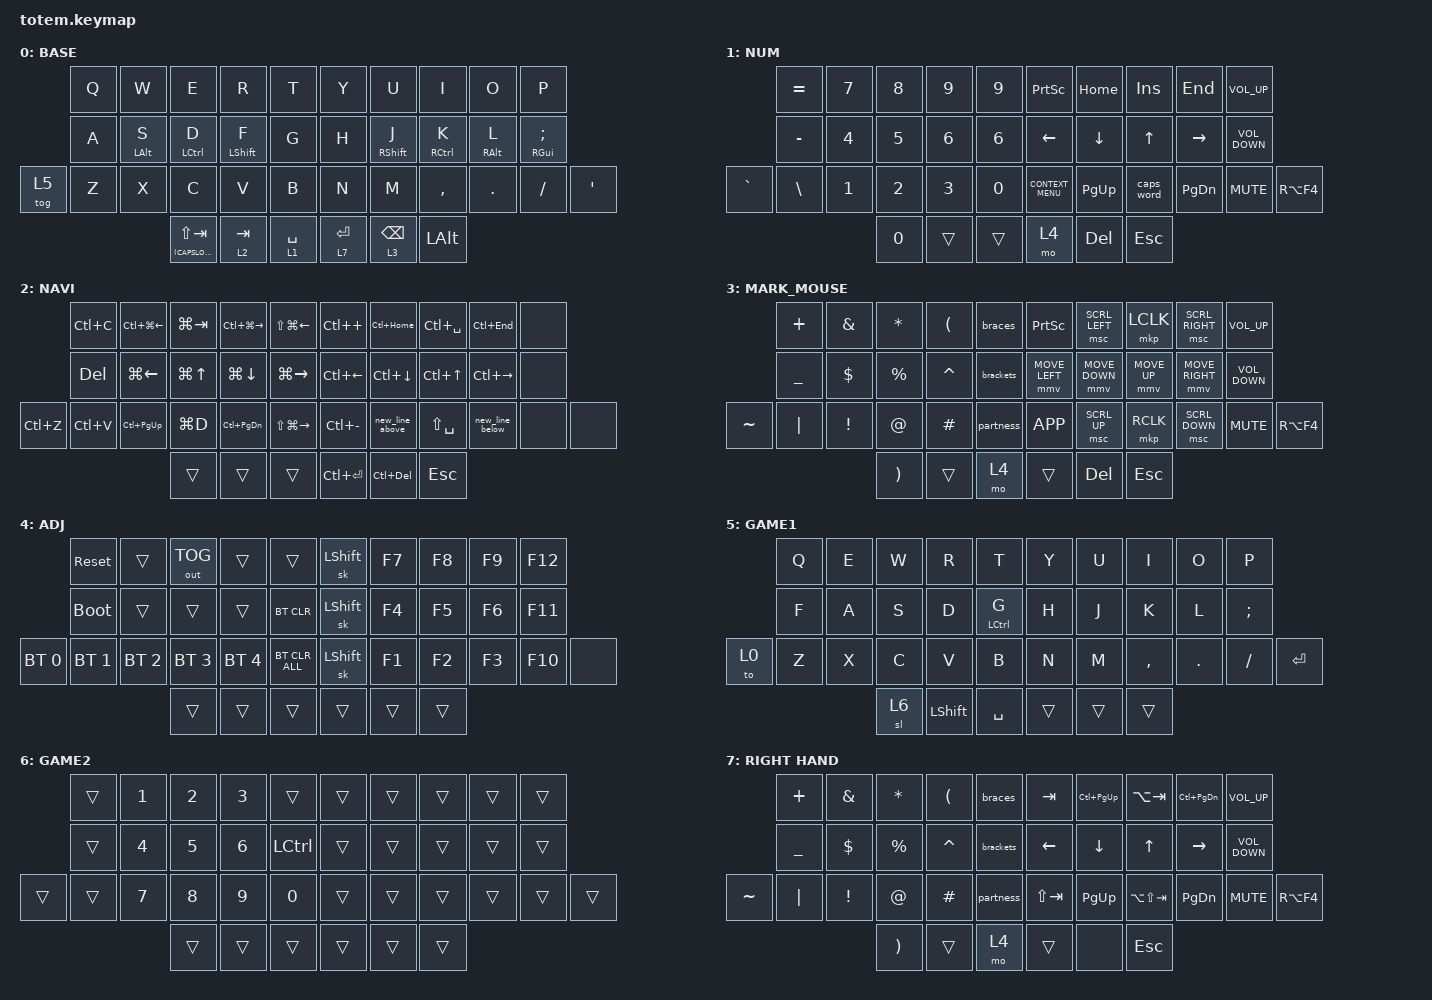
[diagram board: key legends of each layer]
//
//                                                        ▀▀▀▀▀     ▀▀▀▀▀          ▀▀█▀▀
//                                                        ▄▀▀▀▄  ▄  ▄▀▀▀▄  ▄  ▄▀▀▀▄  █  ▄▀▀▀▄
//                                                        █   █  █  █   █  █  █   █  █  █   █
//                                                         ▀▀▀   █   ▀▀▀   █   ▀▀▀   ▀   ▀▀▀
//                                                               █      ▄▄▄█▄▄▄    █   █  
//                                                               ▀      █  █  █     █▄█
//                                                             ▀▀▀▀▀    █  █  █      ▀
//                                                                      ▀  ▀  ▀
//
// ▄▄▄▄▄▄▄▄▄▄▄▄▄▄▄▄▄▄▄▄▄▄▄▄▄▄▄▄▄▄▄▄▄▄▄▄▄▄▄▄▄▄▄▄▄▄▄▄▄▄▄▄▄▄▄▄▄▄▄▄▄▄▄▄▄▄▄▄▄▄▄▄▄▄▄▄▄▄▄▄▄▄▄▄▄▄▄▄▄▄▄▄▄▄▄▄▄▄▄▄▄▄▄▄▄▄▄▄▄▄▄▄▄▄▄▄▄▄▄▄▄▄▄▄▄▄▄▄▄▄▄▄▄▄▄▄▄▄▄▄▄▄▄▄▄▄▄▄▄

#include <behaviors.dtsi>
#include <dt-bindings/zmk/bt.h>
#include <dt-bindings/zmk/keys.h>
#include <dt-bindings/zmk/outputs.h>
#include <dt-bindings/zmk/pointing.h>

#define BASE 0
#define NAV  1
#define SYM  2
#define ADJ  3

&mt {
    quick-tap-ms = <100>;
    global-quick-tap;
    flavor = "tap-preferred";
    tapping-term-ms = <150>;
};

/ {
    combos {
        compatible = "zmk,combos";

        combo_esc {
            timeout-ms = <50>;
            key-positions = <0 1>;
            bindings = <&kp ESC>;
        };

        skk {
            bindings = <&kp LC(J)>;
            key-positions = <16 17>;
        };
    };

    macros {
        gif: gif {
            label = "giphy";
            compatible = "zmk,behavior-macro";
            #binding-cells = <0>;
            bindings =
                <&macro_press>,
                <&kp LSHFT>,
                <&macro_tap>,
                <&kp N2>,
                <&macro_release>,
                <&kp LSHFT>,
                <&macro_tap>,
                <&kp G &kp I &kp F>;
        };

        new_line_below: new_line_below {
            compatible = "zmk,behavior-macro";
            #binding-cells = <0>;
            bindings = <&kp END &kp ENTER>;
            label = "NEW_LINE_BELOW";
        };

        new_line_above: new_line_above {
            compatible = "zmk,behavior-macro";
            #binding-cells = <0>;
            bindings = <&kp HOME &kp ENTER &kp UP_ARROW>;
            label = "NEW_LINE_ABOVE";
        };
    };

    behaviors {
        brackets: brackets {
            compatible = "zmk,behavior-tap-dance";
            label = "BRACKETS";
            #binding-cells = <0>;
            bindings = <&kp LEFT_BRACKET>, <&kp RIGHT_BRACKET>;
        };

        braces: braces {
            compatible = "zmk,behavior-tap-dance";
            label = "BRACES";
            #binding-cells = <0>;
            bindings = <&kp LEFT_BRACE>, <&kp RIGHT_BRACE>;
        };

        partness: partness {
            compatible = "zmk,behavior-tap-dance";
            label = "PARTNESS";
            #binding-cells = <0>;
            bindings = <&kp LEFT_PARENTHESIS>, <&kp RIGHT_PARENTHESIS>;
        };
    };

    keymap {
        compatible = "zmk,keymap";

        // ▄▄▄▄▄▄▄▄▄▄▄▄▄▄▄▄▄▄▄▄▄▄▄▄▄▄▄▄▄▄▄▄▄▄▄▄▄▄▄▄▄▄▄▄▄▄▄▄▄▄▄▄▄▄▄▄▄▄▄▄▄▄▄▄▄▄▄▄▄▄▄▄▄▄▄▄▄▄▄▄▄▄▄▄▄▄▄▄▄▄▄▄▄▄▄▄▄▄▄▄▄▄▄▄▄▄▄▄▄▄▄▄▄▄▄▄▄▄▄▄▄▄▄▄▄▄▄▄▄▄▄▄▄▄▄▄▄▄▄▄▄▄▄▄▄▄▄▄▄

        base_layer {
            // ┏━━━━━━━━━━━━━━━━━━━━━━━━━━━━━━━━━━━━━━━┓

            label = "BASE";

            // ┗━━━━━━━━━━━━━━━━━━━━━━━━━━━━━━━━━━━━━━━┛
            //             ┏━━━━━━━━━━━┳━━━━━━━━━━━┳━━━━━━━━━━━┳━━━━━━━━━━━┳━━━━━━━━━━━┓   ┏━━━━━━━━━━━┳━━━━━━━━━━━┳━━━━━━━━━━━┳━━━━━━━━━━━┳━━━━━━━━━━━┓
            //             ┃     Q     ┃     W     ┃     F     ┃     P     ┃     G     ┃   ┃     J     ┃     L     ┃     U     ┃     Y     ┃     ;     ┃
            //             ┣━━━━━━━━━━━╋━━━━━━━━━━━╋━━━━━━━━━━━╋━━━━━━━━━━━╋━━━━━━━━━━━┫   ┣━━━━━━━━━━━╋━━━━━━━━━━━╋━━━━━━━━━━━╋━━━━━━━━━━━╋━━━━━━━━━━━┫
            //             ┃     A     ┃     R     ┃     S     ┃     T     ┃     D     ┃   ┃     H     ┃     N     ┃     E     ┃     I     ┃     O     ┃
            // ┏━━━━━━━━━━━╋━━━━━━━━━━━╋━━━━━━━━━━━╋━━━━━━━━━━━╋━━━━━━━━━━━╋━━━━━━━━━━━┫   ┣━━━━━━━━━━━╋━━━━━━━━━━━╋━━━━━━━━━━━╋━━━━━━━━━━━╋━━━━━━━━━━━╋━━━━━━━━━━━┓
            // ┃           ┃     Z     ┃     X     ┃     C     ┃     V     ┃     B     ┃   ┃     K     ┃     M     ┃     ,     ┃     .     ┃     /     ┃           ┃
            // ┗━━━━━━━━━━━┻━━━━━━━━━━━┻━━━━━━━━━━━╋━━━━━━━━━━━╋━━━━━━━━━━━╋━━━━━━━━━━━┫   ┣━━━━━━━━━━━╋━━━━━━━━━━━╋━━━━━━━━━━━╋━━━━━━━━━━━┻━━━━━━━━━━━┻━━━━━━━━━━━┛
            //                                     ┃           ┃    TAB    ┃    SPC    ┃   ┃   ENTER   ┃   BSPC    ┃           ┃
            //                                     ┗━━━━━━━━━━━┻━━━━━━━━━━━┻━━━━━━━━━━━┛   ┗━━━━━━━━━━━┻━━━━━━━━━━━┻━━━━━━━━━━━┛

            bindings = <
        &kp Q  &kp W       &kp E                   &kp R        &kp T          &kp Y      &kp U            &kp I         &kp O       &kp P
        &kp A  &mt LALT S  &mt LCTRL D             &mt LSHFT F  &kp G          &kp H      &mt RSHFT J      &mt RCTRL K   &mt RALT L  &mt RGUI SEMI
&tog 5  &kp Z  &kp X       &kp C                   &kp V        &kp B          &kp N      &kp M            &kp COMMA     &kp DOT     &kp SLASH      &kp APOS
                           &mt (CAPSLOCK) LS(TAB)  &lt 2 TAB    &lt 1 SPACE    &lt 7 RET  &lt 3 BACKSPACE  &kp LEFT_ALT
            >;
        };

        num-nav_layer {
            label = "NUM";
            bindings = <
           &kp EQUAL      &kp NUMBER_7  &kp NUMBER_8  &kp NUMBER_9  &kp N9          &kp PRINTSCREEN     &kp HOME        &kp INSERT    &kp END          &kp C_VOLUME_UP
           &kp MINUS      &kp NUMBER_4  &kp NUMBER_5  &kp NUMBER_6  &kp NUMBER_6    &kp LEFT_ARROW      &kp DOWN_ARROW  &kp UP_ARROW  &kp RIGHT_ARROW  &kp C_VOLUME_DOWN
&kp GRAVE  &kp BACKSLASH  &kp NUMBER_1  &kp NUMBER_2  &kp NUMBER_3  &kp N0          &kp K_CONTEXT_MENU  &kp PG_UP       &caps_word    &kp PAGE_DOWN    &kp C_MUTE         &kp RA(F4)
                                        &kp NUMBER_0  &trans        &trans          &mo 4               &kp DELETE      &kp ESCAPE
            >;
        };

        winctrl_layer {
            // ┏━━━━━━━━━━━━━━━━━━━━━━━━━━━━━━━━━━━━━━━┓

            label = "NAVI";

            // ┗━━━━━━━━━━━━━━━━━━━━━━━━━━━━━━━━━━━━━━━┛
            //             ┏━━━━━━━━━━━┳━━━━━━━━━━━┳━━━━━━━━━━━┳━━━━━━━━━━━┳━━━━━━━━━━━┓   ┏━━━━━━━━━━━┳━━━━━━━━━━━┳━━━━━━━━━━━┳━━━━━━━━━━━┳━━━━━━━━━━━┓
            //             ┃           ┃           ┃     UP    ┃           ┃     {     ┃   ┃     }     ┃     7     ┃     8     ┃     9     ┃     +     ┃
            //             ┣━━━━━━━━━━━╋━━━━━━━━━━━╋━━━━━━━━━━━╋━━━━━━━━━━━╋━━━━━━━━━━━┫   ┣━━━━━━━━━━━╋━━━━━━━━━━━╋━━━━━━━━━━━╋━━━━━━━━━━━╋━━━━━━━━━━━┫
            //             ┃   SHIFT   ┃   LEFT    ┃    DOWN   ┃   RIGHT   ┃     [     ┃   ┃     ]     ┃     4     ┃     5     ┃     6     ┃     -     ┃
            // ┏━━━━━━━━━━━╋━━━━━━━━━━━╋━━━━━━━━━━━╋━━━━━━━━━━━╋━━━━━━━━━━━╋━━━━━━━━━━━┫   ┣━━━━━━━━━━━╋━━━━━━━━━━━╋━━━━━━━━━━━╋━━━━━━━━━━━╋━━━━━━━━━━━╋━━━━━━━━━━━┓
            // ┃           ┃           ┃   P UP    ┃  C LOCK   ┃  P DOWN   ┃     (     ┃   ┃     )     ┃     1     ┃     2     ┃     3     ┃     *     ┃           ┃
            // ┗━━━━━━━━━━━┻━━━━━━━━━━━┻━━━━━━━━━━━╋━━━━━━━━━━━╋━━━━━━━━━━━╋━━━━━━━━━━━┫   ┣━━━━━━━━━━━╋━━━━━━━━━━━╋━━━━━━━━━━━╋━━━━━━━━━━━┻━━━━━━━━━━━┻━━━━━━━━━━━┛
            //                                     ┃           ┃    TAB    ┃    SPC    ┃   ┃    DEL    ┃     0     ┃           ┃
            //                                     ┗━━━━━━━━━━━┻━━━━━━━━━━━┻━━━━━━━━━━━┛   ┗━━━━━━━━━━━┻━━━━━━━━━━━┻━━━━━━━━━━━┛

            bindings = <
           &kp LC(C)   &kp LC(LG(LEFT_ARROW))  &kp LG(TAB)  &kp LC(LG(RIGHT_ARROW))  &kp LS(LG(LEFT_ARROW))    &kp LC(PLUS)        &kp LC(HOME)        &kp LC(SPACE)     &kp LC(END)          &none
           &kp DELETE  &kp LG(LEFT)            &kp LG(UP)   &kp LG(DOWN)             &kp LG(RIGHT_ARROW)       &kp LC(LEFT_ARROW)  &kp LC(DOWN_ARROW)  &kp LC(UP_ARROW)  &kp LC(RIGHT_ARROW)  &none
&kp LC(Z)  &kp LC(V)   &kp LC(PAGE_UP)         &kp LG(D)    &kp LC(PAGE_DOWN)        &kp LS(LG(RIGHT))         &kp LC(MINUS)       &new_line_above     &kp LS(SPACE)     &new_line_below      &none  &none
                                               &trans       &trans                   &trans                    &kp LC(ENTER)       &kp LC(DELETE)      &kp ESCAPE
            >;
        };

        mark-mouse_layer {
            label = "MARK_MOUSE";
            bindings = <
           &kp PLUS        &kp AMPERSAND    &kp ASTERISK           &kp LEFT_PARENTHESIS  &braces      &kp PRINTSCREEN  &msc SCRL_LEFT  &mkp LCLK     &msc SCRL_RIGHT  &kp C_VOLUME_UP
           &kp UNDERSCORE  &kp DOLLAR       &kp PERCENT            &kp CARET             &brackets    &mmv MOVE_LEFT   &mmv MOVE_DOWN  &mmv MOVE_UP  &mmv MOVE_RIGHT  &kp C_VOLUME_DOWN
&kp TILDE  &kp PIPE        &kp EXCLAMATION  &kp AT_SIGN            &kp HASH              &partness    &kp K_APP        &msc SCRL_UP    &mkp RCLK     &msc SCRL_DOWN   &kp C_MUTE         &kp RA(F4)
                                            &kp RIGHT_PARENTHESIS  &trans                &mo 4        &trans           &kp DELETE      &kp ESCAPE
            >;
        };

        function_layer {
            // ┏━━━━━━━━━━━━━━━━━━━━━━━━━━━━━━━━━━━━━━━┓

            label = "ADJ";

            // ┗━━━━━━━━━━━━━━━━━━━━━━━━━━━━━━━━━━━━━━━┛
            //             ┏━━━━━━━━━━━┳━━━━━━━━━━━┳━━━━━━━━━━━┳━━━━━━━━━━━┳━━━━━━━━━━━┓   ┏━━━━━━━━━━━┳━━━━━━━━━━━┳━━━━━━━━━━━┳━━━━━━━━━━━┳━━━━━━━━━━━┓
            //             ┃   RESET   ┃ BT CLEAR  ┃  OUT TOG  ┃           ┃           ┃   ┃           ┃    F7     ┃    F8     ┃    F9     ┃    F12    ┃
            //             ┣━━━━━━━━━━━╋━━━━━━━━━━━╋━━━━━━━━━━━╋━━━━━━━━━━━╋━━━━━━━━━━━┫   ┣━━━━━━━━━━━╋━━━━━━━━━━━╋━━━━━━━━━━━╋━━━━━━━━━━━╋━━━━━━━━━━━┫
            //             ┃ BOOTLOAD  ┃ BT NEXT   ┃           ┃           ┃           ┃   ┃           ┃    F4     ┃    F5     ┃    F6     ┃    F11    ┃
            // ┏━━━━━━━━━━━╋━━━━━━━━━━━╋━━━━━━━━━━━╋━━━━━━━━━━━╋━━━━━━━━━━━╋━━━━━━━━━━━┫   ┣━━━━━━━━━━━╋━━━━━━━━━━━╋━━━━━━━━━━━╋━━━━━━━━━━━╋━━━━━━━━━━━╋━━━━━━━━━━━┓
            // ┃           ┃           ┃ BT PREV   ┃           ┃           ┃           ┃   ┃           ┃    F1     ┃    F2     ┃    F3     ┃    F10    ┃           ┃
            // ┗━━━━━━━━━━━┻━━━━━━━━━━━┻━━━━━━━━━━━╋━━━━━━━━━━━╋━━━━━━━━━━━╋━━━━━━━━━━━┫   ┣━━━━━━━━━━━╋━━━━━━━━━━━╋━━━━━━━━━━━╋━━━━━━━━━━━┻━━━━━━━━━━━┻━━━━━━━━━━━┛
            //                                     ┃           ┃           ┃           ┃   ┃           ┃           ┃           ┃
            //                                     ┗━━━━━━━━━━━┻━━━━━━━━━━━┻━━━━━━━━━━━┛   ┗━━━━━━━━━━━┻━━━━━━━━━━━┻━━━━━━━━━━━┛

            bindings = <
              &sys_reset    &trans        &out OUT_TOG  &trans        &trans            &sk LEFT_SHIFT  &kp F7  &kp F8  &kp F9  &kp F12
              &bootloader   &trans        &trans        &trans        &bt BT_CLR        &sk LEFT_SHIFT  &kp F4  &kp F5  &kp F6  &kp F11
&bt BT_SEL 0  &bt BT_SEL 1  &bt BT_SEL 2  &bt BT_SEL 3  &bt BT_SEL 4  &bt BT_CLR_ALL    &sk LEFT_SHIFT  &kp F1  &kp F2  &kp F3  &kp F10  &none
                                          &trans        &trans        &trans            &trans          &trans  &trans
            >;
        };

        GAME1 {
            bindings = <
       &kp Q  &kp E  &kp W  &kp R       &kp T          &kp Y   &kp U   &kp I      &kp O    &kp P
       &kp F  &kp A  &kp S  &kp D       &mt LCTRL G    &kp H   &kp J   &kp K      &kp L    &kp SEMI
&to 0  &kp Z  &kp X  &kp C  &kp V       &kp B          &kp N   &kp M   &kp COMMA  &kp DOT  &kp FSLH  &kp ENTER
                     &sl 6  &kp LSHIFT  &kp SPACE      &trans  &trans  &trans
            >;
        };

        GAME2 {
            bindings = <
        &trans  &kp NUMBER_1  &kp NUMBER_2  &kp NUMBER_3  &trans          &trans  &trans  &trans  &trans  &trans
        &trans  &kp NUMBER_4  &kp NUMBER_5  &kp NUMBER_6  &kp LCTRL       &trans  &trans  &trans  &trans  &trans
&trans  &trans  &kp NUMBER_7  &kp NUMBER_8  &kp NUMBER_9  &kp NUMBER_0    &trans  &trans  &trans  &trans  &trans  &trans
                              &trans        &trans        &trans          &trans  &trans  &trans
            >;
        };

        right_hand_layer {
            label = "RIGHT HAND";
            bindings = <
           &kp PLUS        &kp AMPERSAND    &kp ASTERISK           &kp LEFT_PARENTHESIS  &braces      &kp TAB      &kp LC(PG_UP)  &kp LA(TAB)      &kp LC(PAGE_DOWN)  &kp C_VOLUME_UP
           &kp UNDERSCORE  &kp DOLLAR       &kp PERCENT            &kp CARET             &brackets    &kp LEFT     &kp DOWN       &kp UP_ARROW     &kp RIGHT_ARROW    &kp C_VOLUME_DOWN
&kp TILDE  &kp PIPE        &kp EXCLAMATION  &kp AT_SIGN            &kp HASH              &partness    &kp LS(TAB)  &kp PAGE_UP    &kp LA(LS(TAB))  &kp PAGE_DOWN      &kp C_MUTE         &kp RA(F4)
                                            &kp RIGHT_PARENTHESIS  &trans                &mo 4        &trans       &none          &kp ESCAPE
            >;
        };
    };
};
